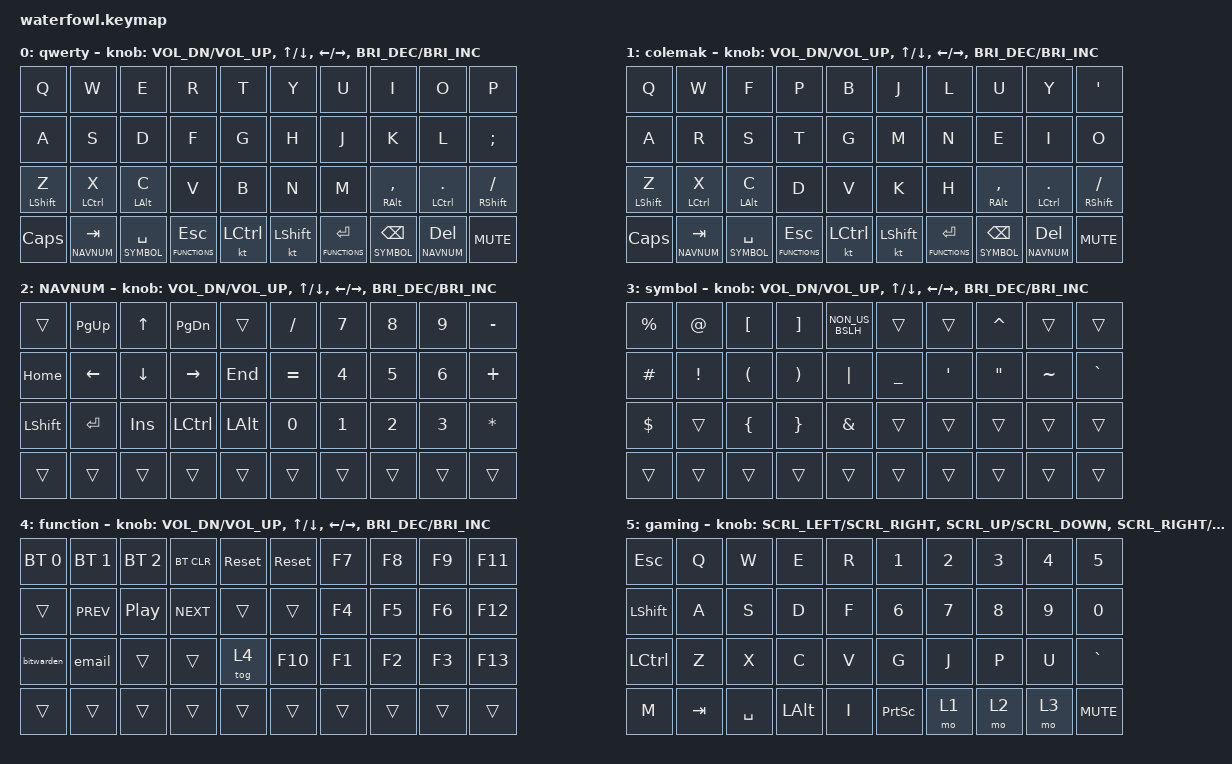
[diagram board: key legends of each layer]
/*
 * Copyright (c) 2022 The ZMK Contributors
 *
 * SPDX-License-Identifier: MIT
 */

#include <behaviors.dtsi>
#include <dt-bindings/zmk/bt.h>
#include <dt-bindings/zmk/keys.h>
#include <dt-bindings/zmk/pointing.h>

// Layer Definitions
#define QWERTY 0
#define COLEMAK 1
#define NAVNUM 2
#define SYMBOL 3
#define FUNCTIONS 4
#define GAMING 5


/ {
    macros {
        bitwarden: bitwarden {
            compatible = "zmk,behavior-macro";
            wait-ms = <40>;
            tap-ms = <40>;
            #binding-cells = <0>;
            bindings
                = <&macro_tap &kp T &kp W>
                , <&macro_press &kp LSHFT>
                , <&macro_tap &kp I >
                , <&macro_release &kp LSHFT>
                , <&macro_tap &kp C &kp E &kp UNDER &kp A &kp C &kp C &kp O &kp M &kp P &kp L &kp I &kp S &kp H &kp E &kp D &kp QMARK &kp N1>
                ;
        };

        email: email {
            compatible = "zmk,behavior-macro";
            wait-ms = <40>;
            tap-ms = <40>;
            #binding-cells = <0>;
            bindings
                = <&macro_tap &kp N &kp O &kp A &kp H &kp P &kp I &kp N &kp E &kp A &kp P &kp P &kp L &kp E &kp AT &kp G &kp M &kp A &kp I &kp L &kp DOT &kp C &kp O &kp M>
                ;
        };
    };
};



/ {
    combos {
        compatible = "zmk,combos";

        //Layer Toggle Combos

        combo_qwertycolemak_toggle {
            timeout-ms = <50>;
            key-positions = <15 16 17>;
            layers = <QWERTY>;
            bindings = <&to COLEMAK>;
        };
        combo_colemakqwerty_toggle {
            timeout-ms = <50>;
            key-positions = <15 16 17>;
            layers = <COLEMAK>;
            bindings = <&to QWERTY>;
        };
        combo_alpha_to_gaming {
            timeout-ms = <50>;
            key-positions = <25 26 27>;
            layers = <QWERTY COLEMAK>;
            bindings = <&to GAMING>;
        };
        combo_gaming_to_qwerty {
            timeout-ms = <50>;
            key-positions = <25 26 27>;
            layers = <GAMING>;
            bindings = <&to QWERTY>;
        };
        combo_gaming_to_colemak {
            timeout-ms = <50>;
            key-positions = <15 16 17>;
            layers = <GAMING>;
            bindings = <&to COLEMAK>;
        };

        //Gaming Layer Combos

        combo_gaming_lhand_1 {
            timeout-ms = <50>;
            key-positions = <33 20>;
            layers = <GAMING>;
            bindings = <&kp N1>;
        };
        combo_gaming__lhand_2 {
            timeout-ms = <50>;
            key-positions = <33 21>;
            layers = <GAMING>;
            bindings = <&kp N2>;
        };
        combo_gaming__lhand_3 {
            timeout-ms = <50>;
            key-positions = <33 22>;
            layers = <GAMING>;
            bindings = <&kp N3>;
        };
        combo_gaming__lhand_4 {
            timeout-ms = <50>;
            key-positions = <33 23>;
            layers = <GAMING>;
            bindings = <&kp N4>;
        };
        combo_gaming__lhand_5 {
            timeout-ms = <50>;
            key-positions = <33 24>;
            layers = <GAMING>;
            bindings = <&kp N5>;
        };
    };
};



/ {
    keymap {
        compatible = "zmk,keymap";

        qwerty {
/* 
 *
 * ,----------------------------------.                      ,----------------------------------.
 * |   Q  |   W  |   E  |   R  |   T  |                      |   Y  |   U  |   I  |   O  |   P  |
 * |------+------+------+------+------|                      |------+------+------+------+------|
 * |   A  |   S  |   D  |   F  |   G  |                      |   H  |   J  |   K  |   L  |   ;  |
 * |------+------+------+------+------|  ,-----.    ,-----.  |------+------+------+------+------|
 * |   Z  |   X  |   C  |   V  |   B  |  |  2  |    |  3  |  |   N  |   M  |   ,  |   .  |   /  |
 * `----------------------------------'  `-----'    `-----'  `----------------------------------'
 *          ,-----.   ,--------------------.            ,--------------------.   ,-----.
 *          |  1  |   | TAB | SPACE | ESC  |            |  ENTER  | BS | DEL |   |  4  |
 *          `-----'   `--------------------'            `--------------------'   `-----'
 */

            bindings = <
&kp Q         &kp W           &kp E             &kp R                 &kp T      &kp Y           &kp U                &kp I            &kp O           &kp P
&kp A         &kp S           &kp D             &kp F                 &kp G      &kp H           &kp J                &kp K            &kp L           &kp SEMI
&mt LSHFT Z   &mt LCTRL X     &mt LALT C        &kp V                 &kp B      &kp N           &kp M                &mt RALT COMMA   &mt LCTRL DOT   &mt RSHFT FSLH
&kp CAPSLOCK  &lt NAVNUM TAB  &lt SYMBOL SPACE  &lt FUNCTIONS ESCAPE  &kt LCTRL  &kt LEFT_SHIFT  &lt FUNCTIONS ENTER  &lt SYMBOL BSPC  &lt NAVNUM DEL  &kp C_MUTE
            >;

            sensor-bindings = <
                &inc_dec_kp C_VOL_DN C_VOL_UP
                &inc_dec_kp UP DOWN
                &inc_dec_kp LEFT RIGHT
                &inc_dec_kp C_BRIGHTNESS_DEC C_BRIGHTNESS_INC
            >;
        };

        colemak {
 /* 
 *
 * ,----------------------------------.                      ,----------------------------------.
 * |   Q  |   W  |   F  |   P  |   B  |                      |   J  |   L  |   U  |   Y  |   '  |
 * |------+------+------+------+------|                      |------+------+------+------+------|
 * |   A  |   R  |   S  |   T  |   G  |                      |   M  |   N  |   E  |   I  |   O  |
 * |------+------+------+------+------|  ,-----.    ,-----.  |------+------+------+------+------|
 * |   Z  |   X  |   C  |   D  |   V  |  |  2  |    |  3  |  |   K  |   H  |   ,  |   .  |   /  |
 * `----------------------------------'  `-----'    `-----'  `----------------------------------'
 *          ,-----.   ,--------------------.            ,--------------------.   ,-----.
 *          |  1  |   | TAB | SPACE | ESC  |            |  ENTER  | BS | DEL |   |  4  |
 *          `-----'   `--------------------'            `--------------------'   `-----'
 */

            bindings = <
&kp Q         &kp W           &kp F             &kp P                 &kp B      &kp J           &kp L                &kp U            &kp Y           &kp SQT
&kp A         &kp R           &kp S             &kp T                 &kp G      &kp M           &kp N                &kp E            &kp I           &kp O
&mt LSHFT Z   &mt LCTRL X     &mt LALT C        &kp D                 &kp V      &kp K           &kp H                &mt RALT COMMA   &mt LCTRL DOT   &mt RSHFT FSLH
&kp CAPSLOCK  &lt NAVNUM TAB  &lt SYMBOL SPACE  &lt FUNCTIONS ESCAPE  &kt LCTRL  &kt LEFT_SHIFT  &lt FUNCTIONS ENTER  &lt SYMBOL BSPC  &lt NAVNUM DEL  &kp C_MUTE
            >;

            sensor-bindings = <
                &inc_dec_kp C_VOL_DN C_VOL_UP
                &inc_dec_kp UP DOWN
                &inc_dec_kp LEFT RIGHT
                &inc_dec_kp C_BRIGHTNESS_DEC C_BRIGHTNESS_INC
            >;
        };

        NAVNUM {
/* 
 *
 * ,--------------------------------==--.                      ,----------------------------------.
 * |       | PgUp  |  UP  | PgDn |      |                      |   /  |   7  |   8  |   9  |   -  |
 * |----=--+-----=-+------+------+------|                      |------+------+------+------+------|
 * | Home  | Left  | Down | Right| End  |                      |   =  |   4  |   5  |   6  |   +  |
 * |-----=-+-----=-+------+------+------|  ,-----.    ,-----.  |------+------+------+------+------|
 * | SHIFT | ENTER |  INS | CTRL | ALT  |  |  2  |    |  3  |  |   0  |   1  |   2  |   3  |   *  |
 * `------------------==----------------'  `-----'    `-----'  `----------------------------------'
 *          ,-----.   ,--------------------.            ,--------------------.   ,-----.
 *          |  1  |   | TAB | SPACE | ESC  |            |  ENTER  | BS | DEL |   |  4  |
 *          `-----'   `--------------------'            `--------------------'   `-----'
 */

            bindings = <
&trans      &kp PG_UP  &kp UP      &kp PG_DN    &trans          &kp FSLH    &kp N7   &kp N8     &kp N9    &kp MINUS
&kp HOME    &kp LEFT   &kp DOWN    &kp RIGHT    &kp END         &kp EQUAL   &kp N4   &kp N5     &kp N6    &kp PLUS
&kp LSHFT   &kp RET    &kp INS     &kp LCTRL    &kp LALT        &kp N0      &kp N1   &kp N2     &kp N3    &kp ASTERISK
&trans      &trans     &trans      &trans       &trans          &trans      &trans   &trans     &trans    &trans
            >;

            sensor-bindings = <
                &inc_dec_kp C_VOL_DN C_VOL_UP
                &inc_dec_kp UP DOWN
                &inc_dec_kp LEFT RIGHT
                &inc_dec_kp C_BRIGHTNESS_DEC C_BRIGHTNESS_INC
            >;
        };

        symbol {
/* 
 *
 * ,----------------------------------.                      ,----------------------------------.
 * |   %  |   @  |   [  |   ]  |   \  |                      |      |      |   ^  |      |      |
 * |------+------+------+------+------|                      |------+------+------+------+------|
 * |   #  |   !  |   (  |   )  |   |  |                      |   _  |   '  |   "  |   ~  |   `  |
 * |------+------+------+------+------|  ,-----.    ,-----.  |------+------+------+------+------|
 * |   $  |      |   {  |   }  |   &  |  |  2  |    |  3  |  |      |      |      |      |      |
 * `----------------------------------'  `-----'    `-----'  `----------------------------------'
 *          ,-----.   ,--------------------.            ,--------------------.   ,-----.
 *          |  1  |   | TAB | SPACE | ESC  |            |  ENTER  | BS | DEL |   |  4  |
 *          `-----'   `--------------------'            `--------------------'   `-----'
 */

            bindings = <
&kp PRCNT   &kp AT     &kp LBKT    &kp RBKT     &kp NON_US_BSLH    &trans      &trans      &kp CARET          &trans      &trans
&kp HASH    &kp EXCL   &kp LPAR    &kp RPAR     &kp PIPE           &kp UNDER   &kp APOS    &kp DOUBLE_QUOTES  &kp TILDE   &kp GRAVE
&kp DLLR    &trans     &kp LBRC    &kp RBRC     &kp AMPS           &trans      &trans      &trans             &trans      &trans
&trans      &trans     &trans      &trans       &trans             &trans      &trans      &trans             &trans      &trans
            >;

            sensor-bindings = <
                &inc_dec_kp C_VOL_DN C_VOL_UP
                &inc_dec_kp UP DOWN
                &inc_dec_kp LEFT RIGHT
                &inc_dec_kp C_BRIGHTNESS_DEC C_BRIGHTNESS_INC
            >;
        };

        function {
/* 
 *
 * ,----------------------------------.                      ,----------------------------------.
 * |  BT0 |  BT1 |  BT2 | BTCLR| Reset|                      | Reset|  F7  |  F8  |  F9  |  F11 |
 * |------+------+------+------+------|                      |------+------+------+------+------|
 * |      | PREV |  pp  |  NXT |      |                      |      |  F4  |  F5  |  F6  |  F12 |
 * |------+------+------+------+------|  ,-----.    ,-----.  |------+------+------+------+------|
 * |MACRO1|MACRO2|      |      |LAYER4|  |  2  |    |  3  |  |  F10 |  F1  |  F2  |  F3  |  F13 |
 * `----------------------------------'  `-----'    `-----'  `----------------------------------'
 *          ,-----.   ,--------------------.            ,--------------------.   ,-----.
 *          |  1  |   | TAB | SPACE | ESC  |            |  ENTER  | BS | DEL |   |  4  |
 *          `-----'   `--------------------'            `--------------------'   `-----'
 */

            bindings = <
&bt BT_SEL 0    &bt BT_SEL 1 &bt BT_SEL 2  &bt BT_CLR    &sys_reset      &sys_reset   &kp F7    &kp F8      &kp F9     &kp F11
&trans          &kp C_PREV   &kp C_PP      &kp C_NEXT    &trans          &trans       &kp F4    &kp F5      &kp F6     &kp F12
&bitwarden      &email       &trans        &trans        &tog 4          &kp F10      &kp F1    &kp F2      &kp F3     &kp F13
&trans          &trans       &trans        &trans        &trans          &trans       &trans    &trans      &trans     &trans
            >;

            sensor-bindings = <
                &inc_dec_kp C_VOL_DN C_VOL_UP
                &inc_dec_kp UP DOWN
                &inc_dec_kp LEFT RIGHT
                &inc_dec_kp C_BRIGHTNESS_DEC C_BRIGHTNESS_INC
            >;
        };

        gaming {
/* 
 *
 * ,----------------------------------.                      ,----------------------------------.
 * | ESC  |   Q  |   W  |   E  |   R  |                      |   1  |   2  |   3  |   4  |   5  |
 * |------+------+------+------+------|                      |------+------+------+------+------|
 * | SHFT |   A  |   S  |   D  |   F  |                      |   6  |   7  |   8  |   9  |   0  |
 * |------+------+------+------+------|  ,-----.    ,-----.  |------+------+------+------+------|
 * | CTRL |   Z  |   X  |   C  |   V  |  |  I  |    |  PS |  |   G  |   J  |   P  |   U  |   `  |
 * `----------------------------------'  `-----'    `-----'  `----------------------------------'
 *          ,-----.   ,--------------------.            ,--------------------.   ,-----.
 *          |  M  |   | TAB | SPACE | ALT  |            |    L1   | L2 |  L4 |   |  4  |
 *          `-----'   `--------------------'            `--------------------'   `-----'
 */

            bindings = <
&kp ESCAPE      &kp Q      &kp W        &kp E       &kp R          &kp N1           &kp N2        &kp N3          &kp N4     &kp N5
&kp LEFT_SHIFT  &kp A      &kp S        &kp D       &kp F          &kp N6           &kp N7        &kp N8          &kp N9     &kp N0
&kp LCTRL       &kp Z      &kp X        &kp C       &kp V          &kp G            &kp J         &kp P           &kp U      &kp GRAVE
&kp M           &kp TAB    &kp SPACE    &kp LALT    &kp I          &kp PSCRN        &mo 1         &mo 2           &mo 3      &kp C_MUTE
            >;

            sensor-bindings = <
                &inc_dec_kp SCRL_LEFT SCRL_RIGHT
                &inc_dec_kp SCRL_UP SCRL_DOWN
                &inc_dec_kp SCRL_RIGHT SCRL_LEFT
                &inc_dec_kp C_VOL_DN C_VOL_UP
            >;
        };
    };
};
